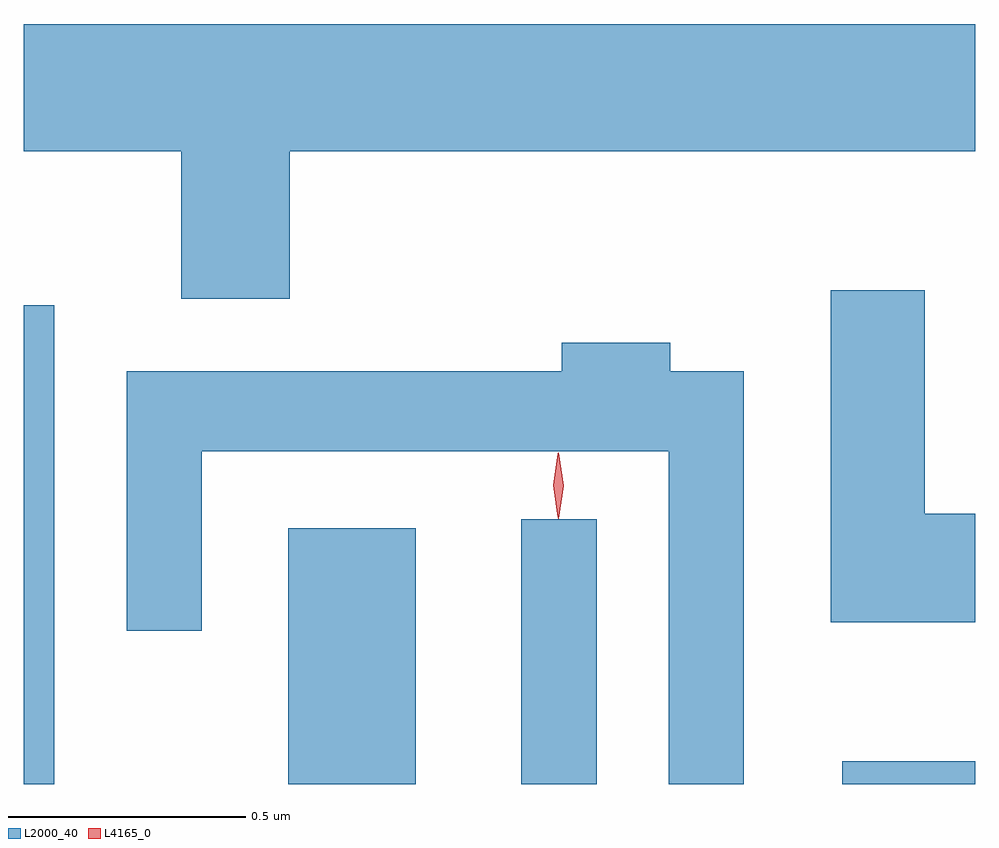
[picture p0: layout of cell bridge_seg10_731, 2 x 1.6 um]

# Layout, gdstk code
import gdstk
lib = gdstk.Library(unit=1e-6, precision=1e-09)
def R(c, l, rs):  # rectangles x0, y0, x1, y1
    for r in rs: c.add(gdstk.rectangle(r[:2], r[2:], *l))
def P(c, l, *ps):  # polygons
    for p in ps: c.add(gdstk.Polygon(p, *l))
L2000_40 = (2000, 40)
L4165_0 = (4165, 0)

bridge_seg10_731 = lib.new_cell('bridge_seg10_731')
R(bridge_seg10_731, L2000_40, [(958.78,2092.606,958.844,2093.613), (959.336,2092.606,959.604,2093.144), (959.826,2092.606,959.984,2093.163), (960.501,2092.606,960.78,2092.654)])
P(bridge_seg10_731, L2000_40, [(959.339,2093.936),(960.78,2093.936),(960.78,2094.204),(958.78,2094.204),(958.78,2093.936),(959.111,2093.936),(959.111,2093.626),(959.339,2093.626)],
  [(960.78,2093.174),(960.674,2093.174),(960.674,2093.644),(960.476,2093.644),(960.476,2092.946),(960.78,2092.946)],
  [(960.294,2093.474),(960.139,2093.474),(960.139,2093.534),(959.911,2093.534),(959.911,2093.474),(958.996,2093.474),(958.996,2092.928),(959.154,2092.928),(959.154,2093.306),(960.136,2093.306),(960.136,2092.606),(960.294,2092.606)])
P(bridge_seg10_731, L4165_0, [(959.904,2093.164),(959.895,2093.233),(959.904,2093.302),(959.905,2093.303),(959.905,2093.302),(959.915,2093.233),(959.905,2093.164),(959.905,2093.164)],
  [(959.903,2093.167),(959.903,2093.167),(959.893,2093.234),(959.903,2093.3),(959.903,2093.301),(959.904,2093.3),(959.913,2093.234),(959.904,2093.167)])

lib.write_gds('bridge_seg10_731.gds')
